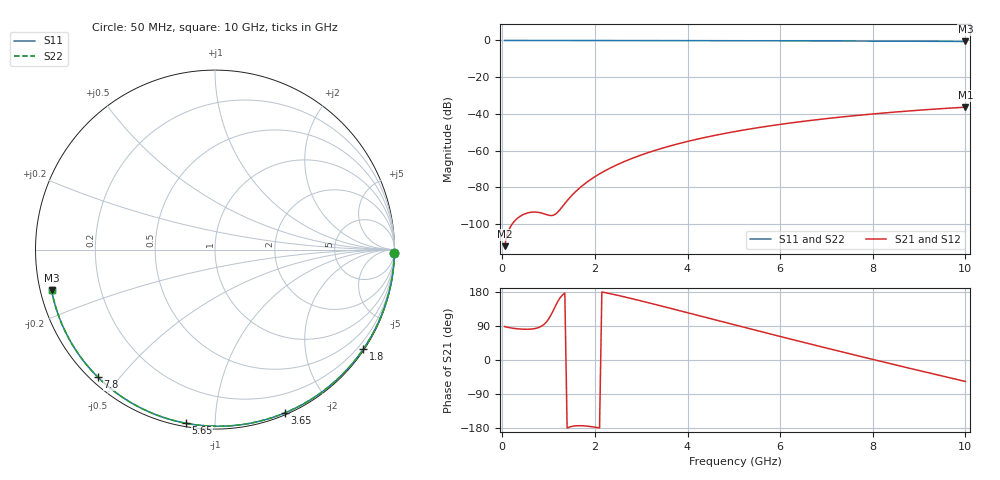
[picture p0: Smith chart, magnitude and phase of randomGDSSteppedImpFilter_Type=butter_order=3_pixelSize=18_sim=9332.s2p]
! freq	dB(S11)	phase(S11)	dB(S12)	phase(S12)
!  dB(S21)	phase(S21)	dB(S22)	phase(S22)
!S-par simulation data
#  GHz  S  DB  R 50
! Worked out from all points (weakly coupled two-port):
!   200 points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, 50 MHz to 10 GHz, reference 50 ohm
!   highest |S21| = -36.32 dB at 10 GHz (marker M1); lowest = -112.0 dB at 50 MHz (marker M2)
!   lowest |S11| = -0.6 dB at 10 GHz (marker M3), VSWR 31.34, Z = 1.62 - j6.06 ohm
!   |S11| at or under -10 dB: nowhere
!   |S22| runs from -0.6 to 0.0 dB; largest |S21 - S12| = 0
!   S11 on the Smith chart (normalised r, x): 50 MHz: open; 1.8 GHz: 0.03, -3.28; 3.65 GHz: 0.02, -1.52; 5.65 GHz: 0.02, -0.85; 7.8 GHz: 0.02, -0.44; 10 GHz: 0.03, -0.12
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0.05  -0.00 -1.0  -112.00 88.3  -112.00 88.3  -0.00 -1.0
0.45  -0.01 -8.6  -94.81 81.3  -94.81 81.3  -0.01 -8.6
0.85  -0.02 -16.2  -93.96 89.6  -93.96 89.6  -0.02 -16.2
1.65  -0.04 -31.1  -80.75 -173.3  -80.75 -173.3  -0.04 -31.1
1.7  -0.04 -32.0  -79.67 -173.4  -79.67 -173.4  -0.04 -32.0
1.75  -0.04 -33.0  -78.64 -173.6  -78.64 -173.6  -0.04 -33.0
1.8  -0.04 -33.9  -77.66 -174.1  -77.66 -174.1  -0.04 -33.9
2.1  -0.05 -39.4  -72.63 -179.4  -72.63 -179.4  -0.05 -39.4
2.3  -0.06 -43.0  -69.86 175.8  -69.86 175.8  -0.06 -43.0
2.5  -0.06 -46.6  -67.42 170.5  -67.42 170.5  -0.06 -46.6
2.9  -0.07 -53.7  -63.28 158.9  -63.28 158.9  -0.07 -53.7
3.4  -0.08 -62.5  -59.06 143.6  -59.06 143.6  -0.08 -62.5
3.65  -0.09 -66.8  -57.25 135.8  -57.25 135.8  -0.09 -66.8
4.3  -0.11 -77.7  -53.22 115.4  -53.22 115.4  -0.11 -77.7
5.05  -0.14 -90.0  -49.47 91.7  -49.47 91.7  -0.14 -90.0
5.65  -0.17 -99.5  -46.98 73.0  -46.98 73.0  -0.17 -99.5
6.15  -0.19 -107.3  -45.17 57.5  -45.17 57.5  -0.19 -107.3
6.7  -0.23 -115.8  -43.42 40.6  -43.42 40.6  -0.23 -115.8
7.8  -0.31 -132.5  -40.48 7.5  -40.48 7.5  -0.31 -132.4
8.35  -0.36 -140.7  -39.25 -8.8  -39.25 -8.8  -0.36 -140.7
9.2  -0.45 -153.7  -37.61 -33.6  -37.61 -33.6  -0.45 -153.7
10  -0.55 -166.2  -36.32 -56.6  -36.32 -56.6  -0.55 -166.2
